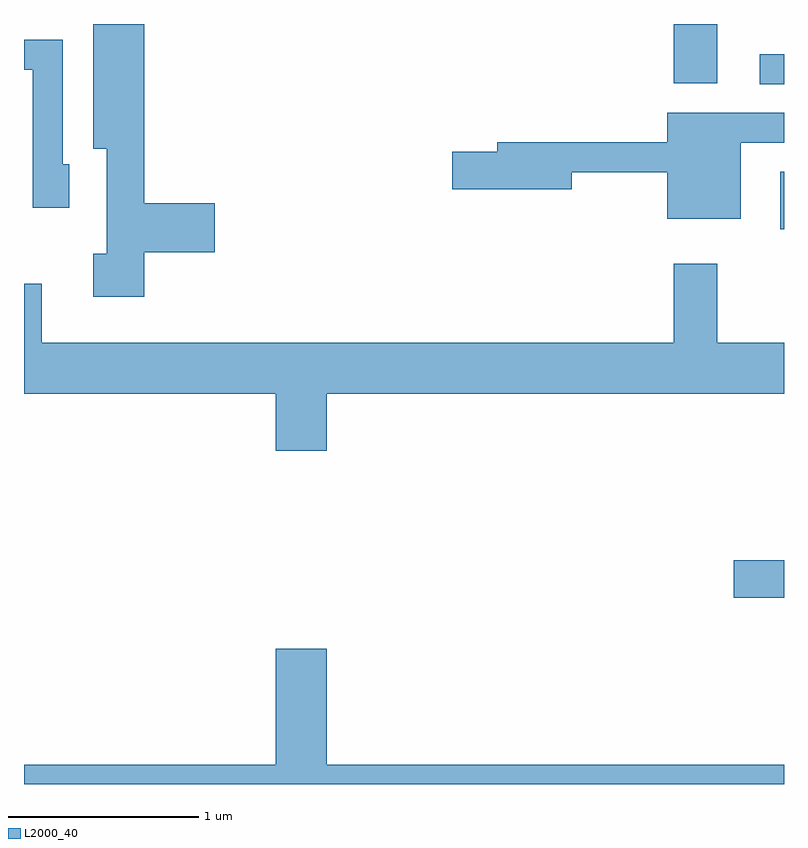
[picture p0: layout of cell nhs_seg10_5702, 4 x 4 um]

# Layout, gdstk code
import gdstk
lib = gdstk.Library(unit=1e-6, precision=1e-09)
def R(c, l, rs):  # rectangles x0, y0, x1, y1
    for r in rs: c.add(gdstk.rectangle(r[:2], r[2:], *l))
def P(c, l, *ps):  # polygons
    for p in ps: c.add(gdstk.Polygon(p, *l))
L2000_40 = (2000, 40)

nhs_seg10_5702 = lib.new_cell('nhs_seg10_5702')
R(nhs_seg10_5702, L2000_40, [(357.346,2119.501,357.611,2119.699), (357.591,2121.441,357.611,2121.744), (357.483,2122.206,357.611,2122.364), (357.031,2122.211,357.259,2122.522)])
P(nhs_seg10_5702, L2000_40, [(354.244,2121.321),(354.614,2121.321),(354.614,2121.579),(354.244,2121.579),(354.244,2122.522),(353.976,2122.522),(353.976,2121.866),(354.046,2121.866),(354.046,2121.314),(353.976,2121.314),(353.976,2121.086),(354.244,2121.086)],
  [(353.849,2121.784),(353.814,2121.784),(353.814,2122.439),(353.611,2122.439),(353.611,2122.281),(353.656,2122.281),(353.656,2121.556),(353.849,2121.556)],
  [(357.384,2121.896),(357.611,2121.896),(357.611,2122.054),(356.996,2122.054),(356.996,2121.899),(356.101,2121.899),(356.101,2121.849),(355.866,2121.849),(355.866,2121.651),(356.494,2121.651),(356.494,2121.741),(356.996,2121.741),(356.996,2121.496),(357.384,2121.496)],
  [(355.204,2120.576),(357.611,2120.576),(357.611,2120.844),(357.259,2120.844),(357.259,2121.259),(357.031,2121.259),(357.031,2120.844),(353.704,2120.844),(353.704,2121.154),(353.611,2121.154),(353.611,2120.576),(354.936,2120.576),(354.936,2120.276),(355.204,2120.276)],
  [(357.611,2118.624),(355.204,2118.624),(355.204,2119.234),(354.936,2119.234),(354.936,2118.624),(353.611,2118.624),(353.611,2118.522),(357.611,2118.522)])

lib.write_gds('nhs_seg10_5702.gds')
